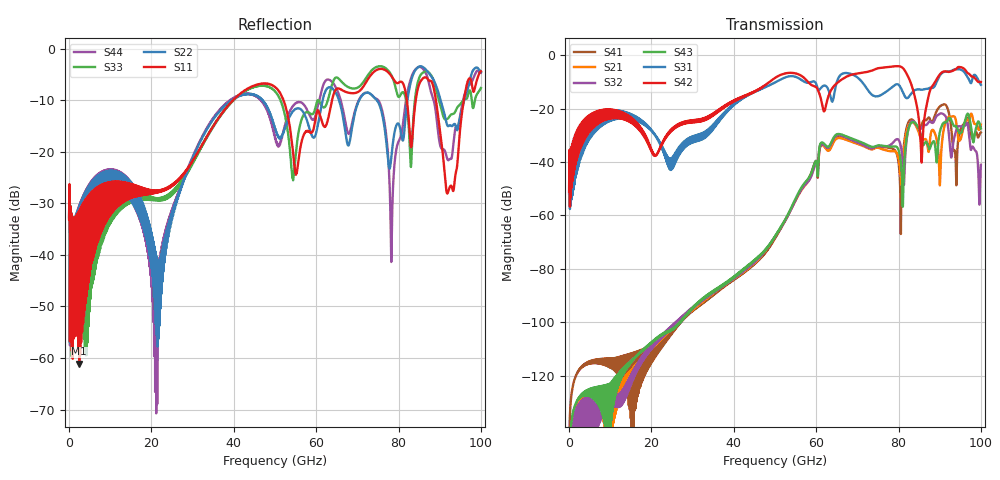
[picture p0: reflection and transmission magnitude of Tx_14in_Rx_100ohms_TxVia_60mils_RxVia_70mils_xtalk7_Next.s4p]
! Info: Touchstone file created by Circ.  Input file=Tx_14in_Rx_100ohms_TxVia_60mils_RxVia_70mils.circ
# Hz S RI R 50
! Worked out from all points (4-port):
!   10000 points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, 10 MHz to 100 GHz, reference 50 ohm
!   strongest paths, dB at 10 MHz, 25.01 GHz, 50.01 GHz, 75.01 GHz, 100 GHz:
!     S42: -51.2, -27.5, -8.5, -4.9, -10.0
!     S31: -51.8, -40.4, -10.2, -15.4, -11.1
!     S43: -154.8, -102.5, -67.8, -33.8, -27.4
!     S32: -170.4, -101.2, -67.9, -34.1, -41.1
!     S21: -167.4, -102.2, -67.9, -34.7, -26.0
!     S41: -150.5, -103.2, -68.5, -34.3, -29.0
!   lowest |S11| = -61.1 dB at 2.47 GHz (marker M1), VSWR 1.00, Z = 49.9 - j0.000815 ohm
!   |S11| at or under -10 dB: start of sweep to 39.8 GHz; 52.05 GHz to 63.87 GHz (11.82 GHz wide, 20.4 % of centre); 89.08 GHz to 95.87 GHz (6.788 GHz wide, 7.34 % of centre) (the widest 3 of 4)
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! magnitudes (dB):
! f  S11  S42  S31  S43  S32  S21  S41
! 10 MHz  -33.1  -51.2  -51.8  -154.8  -170.4  -167.4  -150.5
! 2.47 GHz  -61.1  -34.8  -37.5  -127.9  -135.1  -128.3  -117.7
! 21.16 GHz  -27.7  -37.5  -30.6  -106.4  -108.0  -108.1  -107.8
! 43.67 GHz  -7.7  -14.5  -14.7  -78.7  -79.3  -79.6  -80.0
! 65.23 GHz  -7.7  -10.3  -9.1  -29.5  -29.9  -31.1  -30.6
! 78.27 GHz  -5.3  -4.3  -12.2  -34.3  -33.3  -36.0  -34.9
! 100 GHz  -4.4  -10.0  -11.1  -27.4  -41.1  -26.0  -29.0
